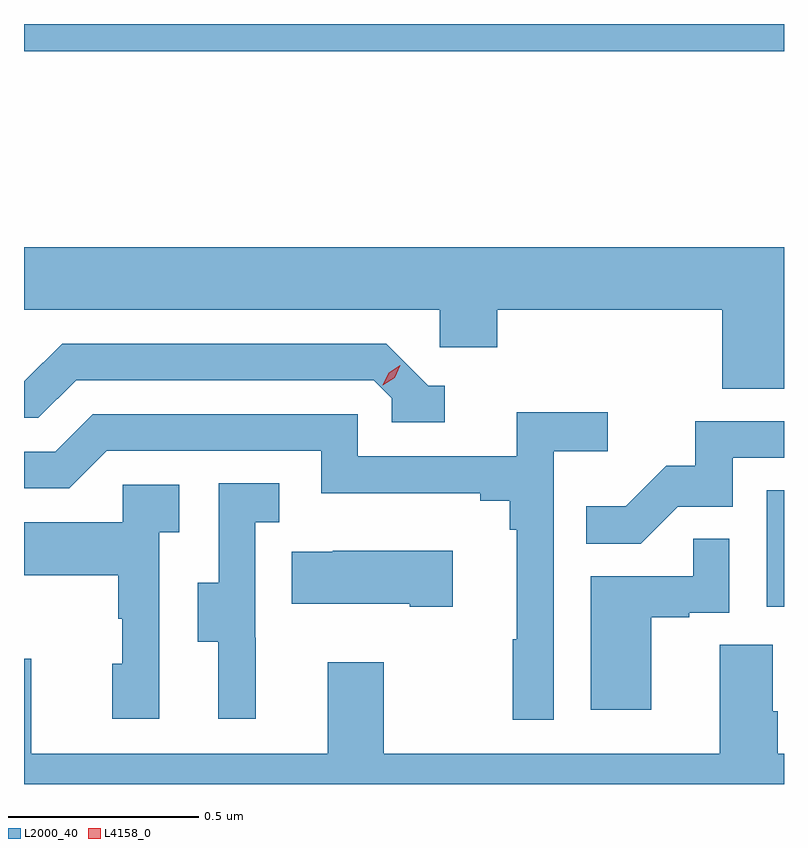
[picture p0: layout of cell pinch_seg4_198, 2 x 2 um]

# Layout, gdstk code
import gdstk
lib = gdstk.Library(unit=1e-6, precision=1e-09)
def R(c, l, rs):  # rectangles x0, y0, x1, y1
    for r in rs: c.add(gdstk.rectangle(r[:2], r[2:], *l))
def P(c, l, *ps):  # polygons
    for p in ps: c.add(gdstk.Polygon(p, *l))
L2000_40 = (2000, 40)
L4158_0 = (4158, 0)

pinch_seg4_198 = lib.new_cell('pinch_seg4_198')
R(pinch_seg4_198, L2000_40, [(975.44,825.342,975.486,825.649), (973.486,826.804,975.486,826.876)])
P(pinch_seg4_198, L2000_40, [(975.486,826.288),(973.486,826.288),(973.486,826.124),(974.58,826.124),(974.58,826.026),(974.732,826.026),(974.732,826.124),(975.323,826.124),(975.323,825.916),(975.486,825.916)],
  [(974.593,825.924),(974.55,825.924),(974.439,826.035),(973.586,826.035),(973.487,825.936),(973.486,825.936),(973.486,825.84),(973.524,825.84),(973.623,825.939),(974.406,825.939),(974.454,825.891),(974.454,825.828),(974.593,825.828)],
  [(974.88,825.752),(975.022,825.752),(975.022,825.854),(974.783,825.854),(974.783,825.738),(974.364,825.738),(974.364,825.849),(973.667,825.849),(973.568,825.75),(973.486,825.75),(973.486,825.654),(973.605,825.654),(973.704,825.753),(974.268,825.753),(974.268,825.641),(974.687,825.641),(974.687,825.622),(974.764,825.622),(974.764,825.545),(974.783,825.545),(974.783,825.257),(974.772,825.257),(974.772,825.045),(974.88,825.045)],
  [(975.207,825.606),(975.351,825.606),(975.351,825.735),(975.486,825.735),(975.486,825.831),(975.253,825.831),(975.253,825.714),(975.176,825.714),(975.069,825.607),(974.965,825.607),(974.965,825.508),(975.109,825.508)],
  [(974.096,825.261),(974.094,825.261),(974.094,825.565),(974.158,825.565),(974.158,825.668),(973.998,825.668),(973.998,825.405),(973.943,825.405),(973.943,825.25),(973.997,825.25),(973.997,825.048),(974.096,825.048)],
  [(973.842,825.539),(973.894,825.539),(973.894,825.663),(973.746,825.663),(973.746,825.565),(973.486,825.565),(973.486,825.425),(973.734,825.425),(973.734,825.311),(973.744,825.311),(973.744,825.192),(973.718,825.192),(973.718,825.048),(973.842,825.048)],
  [(975.136,825.315),(975.236,825.315),(975.236,825.327),(975.342,825.327),(975.342,825.521),(975.247,825.521),(975.247,825.423),(974.978,825.423),(974.978,825.072),(975.136,825.072)],
  [(974.614,825.49),(974.299,825.49),(974.299,825.487),(974.191,825.487),(974.191,825.35),(974.501,825.35),(974.501,825.343),(974.614,825.343)],
  [(975.486,824.956),(975.47,824.956),(975.47,825.068),(975.457,825.068),(975.457,825.242),(975.317,825.242),(975.317,824.956),(974.433,824.956),(974.433,825.196),(974.285,825.196),(974.285,824.956),(973.505,824.956),(973.505,825.205),(973.486,825.205),(973.486,824.876),(975.486,824.876)])
P(pinch_seg4_198, L4158_0, [(974.43,825.925),(974.43,825.925),(974.446,825.958),(974.476,825.978),(974.476,825.978),(974.476,825.978),(974.461,825.945),(974.43,825.925)])

lib.write_gds('pinch_seg4_198.gds')
